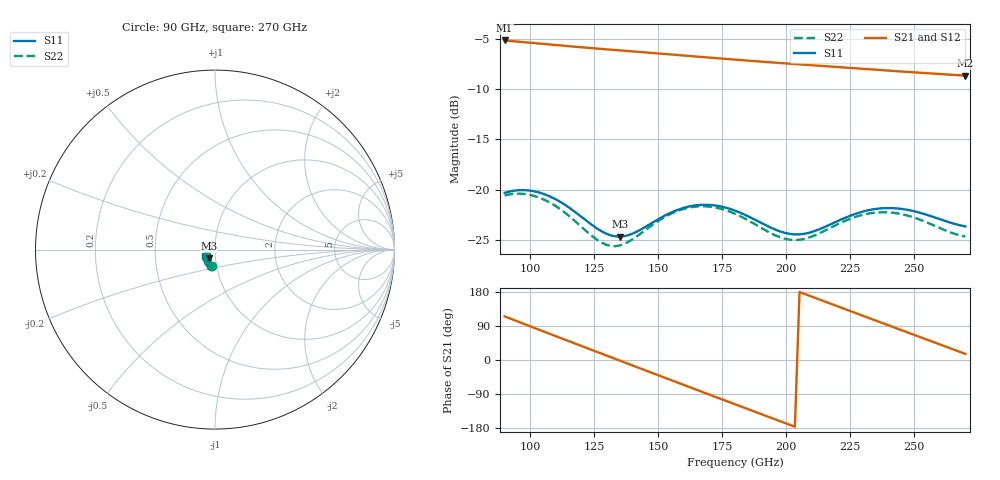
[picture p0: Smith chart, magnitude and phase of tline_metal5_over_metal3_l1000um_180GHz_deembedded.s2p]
! Created with skrf 2.2.0 (http://scikit-rf.org).
# GHz S DB R 50.0
! Port[1] = P1
! Port[2] = P2
!freq dBS11 angS11 dBS21 angS21 dBS12 angS12 dBS22 angS22
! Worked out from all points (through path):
!   101 points, 90 GHz to 270 GHz, reference 50 ohm
!   highest |S21| = -5.19 dB at 90 GHz (marker M1); lowest = -8.7 dB at 270 GHz (marker M2)
!   group delay of S21, straight-line fit = 7.08 ps
!   lowest |S11| = -24.6 dB at 135 GHz (marker M3), VSWR 1.12, Z = 46.5 - j4.44 ohm
!   |S11| at or under -10 dB: start of sweep to end of sweep
!   |S22| runs from -25.6 to -20.4 dB; largest |S21 - S12| = 5.9e-14
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90  -20.30 -103.1  -5.19 115.1  -5.19 115.1  -20.56 -101.8
97.2  -20.03 -112.9  -5.35 96.2  -5.35 96.2  -20.40 -112.0
104.4  -20.34 -122.6  -5.52 77.4  -5.52 77.4  -20.86 -122.0
111.6  -21.18 -130.7  -5.68 58.7  -5.68 58.7  -21.90 -129.9
120.6  -22.79 -135.6  -5.88 35.5  -5.88 35.5  -23.81 -133.5
127.8  -24.10 -133.2  -6.03 16.9  -6.03 16.9  -25.23 -128.5
135  -24.64 -125.7  -6.18 -1.6  -6.18 -1.6  -25.52 -118.4
142.2  -24.08 -119.2  -6.32 -20.1  -6.32 -20.1  -24.52 -111.4
151.2  -22.75 -118.3  -6.50 -43.3  -6.50 -43.3  -22.90 -112.2
158.4  -21.92 -122.5  -6.65 -61.7  -6.65 -61.7  -22.02 -117.7
165.6  -21.51 -128.6  -6.80 -80.1  -6.80 -80.1  -21.65 -124.9
172.8  -21.58 -135.2  -6.95 -98.5  -6.95 -98.5  -21.78 -132.1
180  -22.07 -140.7  -7.09 -116.8  -7.09 -116.8  -22.38 -138.1
189  -23.12 -143.9  -7.27 -139.6  -7.27 -139.6  -23.59 -141.3
196.2  -24.00 -142.2  -7.40 -157.9  -7.40 -157.9  -24.57 -138.9
203.4  -24.43 -137.0  -7.53 -176.1  -7.53 -176.1  -24.99 -132.7
210.6  -24.13 -131.6  -7.66 165.7  -7.66 165.7  -24.58 -126.9
217.8  -23.37 -129.1  -7.79 147.4  -7.79 147.4  -23.70 -124.7
226.8  -22.41 -131.0  -7.95 124.7  -7.95 124.7  -22.71 -127.5
241.2  -21.82 -139.8  -8.20 88.4  -8.20 88.4  -22.26 -137.3
253.8  -22.39 -146.4  -8.42 56.7  -8.42 56.7  -23.12 -143.9
270  -23.63 -145.2  -8.68 16.1  -8.68 16.1  -24.64 -139.6
